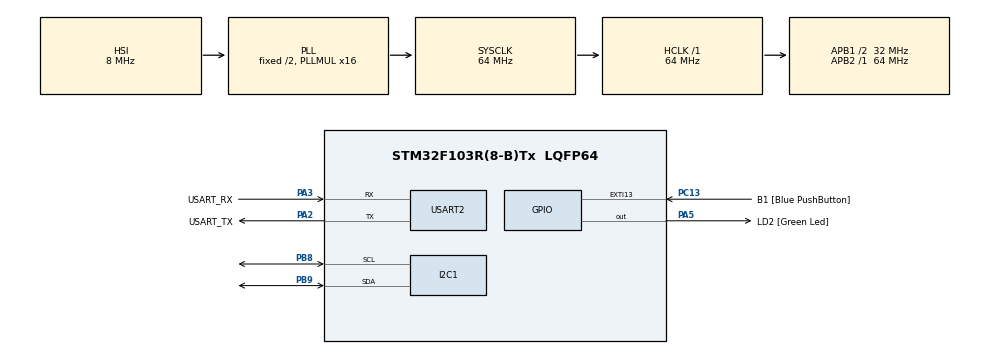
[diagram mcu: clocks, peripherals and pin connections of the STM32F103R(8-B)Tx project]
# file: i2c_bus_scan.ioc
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Mcu.Family=STM32F1
Mcu.Name=STM32F103R(8-B)Tx
Mcu.Package=LQFP64
NVIC.EXTI15_10_IRQn=true\:0\:0\:false\:false\:true
NVIC.PriorityGroup=NVIC_PRIORITYGROUP_4
PA13.GPIO_Label=TMS
PA13.Mode=Serial_Wire
PA13.Signal=SYS_JTMS-SWDIO
PA14.GPIO_Label=TCK
PA14.Mode=Serial_Wire
PA14.Signal=SYS_JTCK-SWCLK
PA2.GPIO_Label=USART_TX
PA2.GPIO_Mode=GPIO_MODE_AF_PP
PA2.GPIO_PuPd=GPIO_NOPULL
PA2.GPIO_Speed=GPIO_SPEED_FREQ_LOW
PA2.Mode=Asynchronous
PA2.Signal=USART2_TX
PA3.GPIO_Label=USART_RX
PA3.GPIO_Mode=GPIO_MODE_AF_PP
PA3.GPIO_PuPd=GPIO_NOPULL
PA3.GPIO_Speed=GPIO_SPEED_FREQ_LOW
PA3.Mode=Asynchronous
PA3.Signal=USART2_RX
PA5.GPIO_Label=LD2 [Green Led]
PA5.GPIO_ModeDefaultOutputPP=GPIO_MODE_OUTPUT_PP
PA5.GPIO_PuPd=GPIO_NOPULL
PA5.GPIO_Speed=GPIO_SPEED_FREQ_LOW
PA5.Signal=GPIO_Output
PB3.GPIO_Label=SWO
PB3.Signal=SYS_JTDO-TRACESWO
PB8.Mode=I2C
PB8.Signal=I2C1_SCL
PB9.Mode=I2C
PB9.Signal=I2C1_SDA
PC13-TAMPER-RTC.GPIO_Label=B1 [Blue PushButton]
PC13-TAMPER-RTC.GPIO_ModeDefaultEXTI=GPIO_MODE_IT_FALLING
PC13-TAMPER-RTC.GPIO_PuPd=GPIO_NOPULL
PC13-TAMPER-RTC.Signal=GPXTI13
PC14-OSC32_IN.Signal=RCC_OSC32_IN
PC15-OSC32_OUT.Signal=RCC_OSC32_OUT
PD0-OSC_IN.Signal=RCC_OSC_IN
PD1-OSC_OUT.Signal=RCC_OSC_OUT
ProjectManager.HeapSize=0x200
ProjectManager.StackSize=0x400
ProjectManager.TargetToolchain=SW4STM32
RCC.AHBFreq_Value=64000000
RCC.APB1CLKDivider=RCC_HCLK_DIV2
RCC.APB1Freq_Value=32000000
RCC.APB1TimFreq_Value=64000000
RCC.APB2Freq_Value=64000000
RCC.APB2TimFreq_Value=64000000
RCC.HCLKFreq_Value=64000000
RCC.PLLMUL=RCC_PLL_MUL16
RCC.SYSCLKFreq_VALUE=64000000
RCC.SYSCLKSource=RCC_SYSCLKSOURCE_PLLCLK
RCC.USBFreq_Value=64000000
USART2.VirtualMode=VM_ASYNC
board=NUCLEO-F103RB

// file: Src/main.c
/**
  ******************************************************************************
  * File Name          : main.c
  * Description        : Main program body
  ******************************************************************************
  ** This notice applies to any and all portions of this file
  * that are not between comment pairs USER CODE BEGIN and
  * USER CODE END. Other portions of this file, whether
  * inserted by the user or by software development tools
  * are owned by their respective copyright owners.
  *
  * COPYRIGHT(c) 2017 STMicroelectronics
  *
  * Redistribution and use in source and binary forms, with or without modification,
  * are permitted provided that the following conditions are met:
  *   1. Redistributions of source code must retain the above copyright notice,
  *      this list of conditions and the following disclaimer.
  *   2. Redistributions in binary form must reproduce the above copyright notice,
  *      this list of conditions and the following disclaimer in the documentation
  *      and/or other materials provided with the distribution.
  *   3. Neither the name of STMicroelectronics nor the names of its contributors
  *      may be used to endorse or promote products derived from this software
  *      without specific prior written permission.
  *
  * THIS SOFTWARE IS PROVIDED BY THE COPYRIGHT HOLDERS AND CONTRIBUTORS "AS IS"
  * AND ANY EXPRESS OR IMPLIED WARRANTIES, INCLUDING, BUT NOT LIMITED TO, THE
  * IMPLIED WARRANTIES OF MERCHANTABILITY AND FITNESS FOR A PARTICULAR PURPOSE ARE
  * DISCLAIMED. IN NO EVENT SHALL THE COPYRIGHT HOLDER OR CONTRIBUTORS BE LIABLE
  * FOR ANY DIRECT, INDIRECT, INCIDENTAL, SPECIAL, EXEMPLARY, OR CONSEQUENTIAL
  * DAMAGES (INCLUDING, BUT NOT LIMITED TO, PROCUREMENT OF SUBSTITUTE GOODS OR
  * SERVICES; LOSS OF USE, DATA, OR PROFITS; OR BUSINESS INTERRUPTION) HOWEVER
  * CAUSED AND ON ANY THEORY OF LIABILITY, WHETHER IN CONTRACT, STRICT LIABILITY,
  * OR TORT (INCLUDING NEGLIGENCE OR OTHERWISE) ARISING IN ANY WAY OUT OF THE USE
  * OF THIS SOFTWARE, EVEN IF ADVISED OF THE POSSIBILITY OF SUCH DAMAGE.
  *
  ******************************************************************************
  */
#include "main.h"
#include "stm32f1xx_hal.h"

I2C_HandleTypeDef hi2c1;

UART_HandleTypeDef huart2;

/* USER CODE BEGIN PV */
/* Private variables ---------------------------------------------------------*/

/* USER CODE END PV */

void SystemClock_Config(void);
static void MX_GPIO_Init(void);
static void MX_USART2_UART_Init(void);
static void MX_I2C1_Init(void);

/* USER CODE BEGIN PFP */
/* Private function prototypes -----------------------------------------------*/

/* Direct printf to output somewhere */
#ifdef __GNUC__
#define PUTCHAR_PROTOTYPE int __io_putchar(int ch)
#else
#define PUTCHAR_PROTOTYPE int fputc(int ch, FILE *f)
#endif /* __GNUC__ */

#ifndef __UUID_H
#define __UUID_H
//#define STM32_UUID ((uint32_t *)0x1FF0F420)
#define STM32_UUID ((uint32_t *)UID_BASE)
#endif //__UUID_H

/* USER CODE END PFP */

int main(void)
{

  /* MCU Configuration----------------------------------------------------------*/

  /* Reset of all peripherals, Initializes the Flash interface and the Systick. */
  HAL_Init();

  /* Configure the system clock */
  SystemClock_Config();

  /* Initialize all configured peripherals */
  MX_GPIO_Init();
  MX_USART2_UART_Init();
  MX_I2C1_Init();

  /* USER CODE BEGIN 2 */
  char uart2Data[24] = "Connected to UART Two\r\n";
   /*
    * Output to uart2
    * use screen or putty or whatever terminal software
    * 8N1 115200
    */
   HAL_UART_Transmit(&huart2, (uint8_t *)&uart2Data,sizeof(uart2Data), 0xFFFF);

 	printf("\r\n");

 	printf("Scanning I2C bus:\r\n");
	HAL_StatusTypeDef result;
 	uint8_t i;
 	for (i=1; i<128; i++)
 	{
 	  /*
 	   * the HAL wants a left aligned i2c address
 	   * &hi2c1 is the handle
 	   * (uint16_t)(i<<1) is the i2c address left aligned
 	   * retries 2
 	   * timeout 2
 	   */
 	  result = HAL_I2C_IsDeviceReady(&hi2c1, (uint16_t)(i<<1), 2, 2);
 	  if (result != HAL_OK) // HAL_ERROR or HAL_BUSY or HAL_TIMEOUT
 	  {
 		  printf("."); // No ACK received at that address
 	  }
 	  if (result == HAL_OK)
 	  {
 		  printf("0x%X", i); // Received an ACK at that address
 	  }
 	}
 	printf("\r\n");

  /* USER CODE END 2 */

  /* Infinite loop */
  while (1)
  {

  }

}

/** System Clock Configuration
*/
void SystemClock_Config(void)
{

  RCC_OscInitTypeDef RCC_OscInitStruct;
  RCC_ClkInitTypeDef RCC_ClkInitStruct;

    /**Initializes the CPU, AHB and APB busses clocks
    */
  RCC_OscInitStruct.OscillatorType = RCC_OSCILLATORTYPE_HSI;
  RCC_OscInitStruct.HSIState = RCC_HSI_ON;
  RCC_OscInitStruct.HSICalibrationValue = 16;
  RCC_OscInitStruct.PLL.PLLState = RCC_PLL_ON;
  RCC_OscInitStruct.PLL.PLLSource = RCC_PLLSOURCE_HSI_DIV2;
  RCC_OscInitStruct.PLL.PLLMUL = RCC_PLL_MUL16;
  if (HAL_RCC_OscConfig(&RCC_OscInitStruct) != HAL_OK)
  {
    _Error_Handler(__FILE__, __LINE__);
  }

    /**Initializes the CPU, AHB and APB busses clocks
    */
  RCC_ClkInitStruct.ClockType = RCC_CLOCKTYPE_HCLK|RCC_CLOCKTYPE_SYSCLK
                              |RCC_CLOCKTYPE_PCLK1|RCC_CLOCKTYPE_PCLK2;
  RCC_ClkInitStruct.SYSCLKSource = RCC_SYSCLKSOURCE_PLLCLK;
  RCC_ClkInitStruct.AHBCLKDivider = RCC_SYSCLK_DIV1;
  RCC_ClkInitStruct.APB1CLKDivider = RCC_HCLK_DIV2;
  RCC_ClkInitStruct.APB2CLKDivider = RCC_HCLK_DIV1;

  if (HAL_RCC_ClockConfig(&RCC_ClkInitStruct, FLASH_LATENCY_2) != HAL_OK)
  {
    _Error_Handler(__FILE__, __LINE__);
  }

    /**Configure the Systick interrupt time
    */
  HAL_SYSTICK_Config(HAL_RCC_GetHCLKFreq()/1000);

    /**Configure the Systick
    */
  HAL_SYSTICK_CLKSourceConfig(SYSTICK_CLKSOURCE_HCLK);

  /* SysTick_IRQn interrupt configuration */
  HAL_NVIC_SetPriority(SysTick_IRQn, 0, 0);
}

/* I2C1 init function */
static void MX_I2C1_Init(void)
{

  hi2c1.Instance = I2C1;
  hi2c1.Init.ClockSpeed = 100000;
  hi2c1.Init.DutyCycle = I2C_DUTYCYCLE_2;
  hi2c1.Init.OwnAddress1 = 0;
  hi2c1.Init.AddressingMode = I2C_ADDRESSINGMODE_7BIT;
  hi2c1.Init.DualAddressMode = I2C_DUALADDRESS_DISABLE;
  hi2c1.Init.OwnAddress2 = 0;
  hi2c1.Init.GeneralCallMode = I2C_GENERALCALL_DISABLE;
  hi2c1.Init.NoStretchMode = I2C_NOSTRETCH_DISABLE;
  if (HAL_I2C_Init(&hi2c1) != HAL_OK)
  {
    _Error_Handler(__FILE__, __LINE__);
  }

}

/* USART2 init function */
static void MX_USART2_UART_Init(void)
{

  huart2.Instance = USART2;
  huart2.Init.BaudRate = 115200;
  huart2.Init.WordLength = UART_WORDLENGTH_8B;
  huart2.Init.StopBits = UART_STOPBITS_1;
  huart2.Init.Parity = UART_PARITY_NONE;
  huart2.Init.Mode = UART_MODE_TX_RX;
  huart2.Init.HwFlowCtl = UART_HWCONTROL_NONE;
  huart2.Init.OverSampling = UART_OVERSAMPLING_16;
  if (HAL_UART_Init(&huart2) != HAL_OK)
  {
    _Error_Handler(__FILE__, __LINE__);
  }

}

/** Configure pins as
        * Analog
        * Input
        * Output
        * EVENT_OUT
        * EXTI
*/
static void MX_GPIO_Init(void)
{

  GPIO_InitTypeDef GPIO_InitStruct;

  /* GPIO Ports Clock Enable */
  __HAL_RCC_GPIOC_CLK_ENABLE();
  __HAL_RCC_GPIOD_CLK_ENABLE();
  __HAL_RCC_GPIOA_CLK_ENABLE();
  __HAL_RCC_GPIOB_CLK_ENABLE();

  /*Configure GPIO pin Output Level */
  HAL_GPIO_WritePin(LD2_GPIO_Port, LD2_Pin, GPIO_PIN_RESET);

  /*Configure GPIO pin : B1_Pin */
  GPIO_InitStruct.Pin = B1_Pin;
  GPIO_InitStruct.Mode = GPIO_MODE_IT_FALLING;
  GPIO_InitStruct.Pull = GPIO_NOPULL;
  HAL_GPIO_Init(B1_GPIO_Port, &GPIO_InitStruct);

  /*Configure GPIO pin : LD2_Pin */
  GPIO_InitStruct.Pin = LD2_Pin;
  GPIO_InitStruct.Mode = GPIO_MODE_OUTPUT_PP;
  GPIO_InitStruct.Speed = GPIO_SPEED_FREQ_LOW;
  HAL_GPIO_Init(LD2_GPIO_Port, &GPIO_InitStruct);

  /* EXTI interrupt init*/
  HAL_NVIC_SetPriority(EXTI15_10_IRQn, 0, 0);
  HAL_NVIC_EnableIRQ(EXTI15_10_IRQn);

}

/* USER CODE BEGIN 4 */
/**
  * @brief  Retargets the C library printf function to the USART.
  * @param  None
  * @retval None
  */
PUTCHAR_PROTOTYPE
{
  /* Place your implementation of fputc here */
  /* e.g. write a character to the USART2 and Loop until the end of transmission */
  HAL_UART_Transmit(&huart2, (uint8_t *)&ch, 1, 0xFFFF);

  return ch;
}

/* USER CODE END 4 */

void _Error_Handler(char * file, int line)
{
  while(1)
  {
  }
}

/************************ (C) COPYRIGHT STMicroelectronics *****END OF FILE****/
